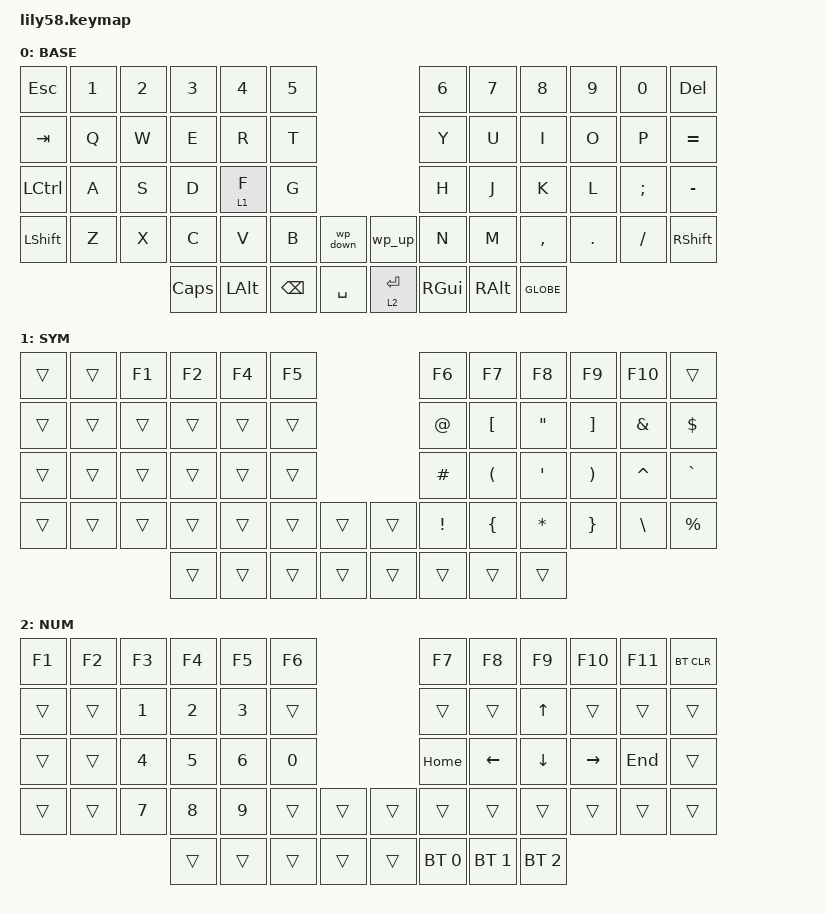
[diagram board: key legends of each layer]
#include <behaviors.dtsi>
#include <dt-bindings/zmk/bt.h>
#include <dt-bindings/zmk/keys.h>

/ {
    macros {
        wp_down: wp_down {
            compatible = "zmk,behavior-macro";
            #binding-cells = <0>;
            bindings = <&kp LC(LG(J))>;
        };

        wp_up: wp_up {
            compatible = "zmk,behavior-macro";
            #binding-cells = <0>;
            bindings = <&kp LC(LG(K))>;
        };
    };
    behaviors {
        td0: tap_dance_0 {
            compatible = "zmk,behavior-tap-dance";
            #binding-cells = <0>;
            tapping-term-ms = <200>;
            bindings = <&kp LSHFT>, <&kp CAPS>;
        };
    };

    combos {
        compatible = "zmk,combos";

        softoff {
            bindings = <&soft_off>;
            key-positions = <14 28 40>;
            timeout-ms = <50>;
        };
    };

    keymap {
        compatible = "zmk,keymap";

        default_layer {
            display-name = "BASE";
            bindings = <
&kp ESC           &kp N1  &kp N2  &kp N3        &kp N4        &kp N5                               &kp N6         &kp N7         &kp N8     &kp N9   &kp N0    &kp DELETE
&kp TAB           &kp Q   &kp W   &kp E         &kp R         &kp T                                &kp Y          &kp U          &kp I      &kp O    &kp P     &kp EQUAL
&kp LEFT_CONTROL  &kp A   &kp S   &kp D         &lt 1 F       &kp G                                &kp H          &kp J          &kp K      &kp L    &kp SEMI  &kp MINUS
&kp LEFT_SHIFT    &kp Z   &kp X   &kp C         &kp V         &kp B          &wp_down    &wp_up    &kp N          &kp M          &kp COMMA  &kp DOT  &kp FSLH  &kp RIGHT_SHIFT
                                  &kp CAPSLOCK  &kp LALT      &kp BSPC       &kp SPACE   &lt 2 RET &kp RGUI       &kp RALT       &kp GLOBE
            >;
        };

        symbols_layer {
            display-name = "SYM";
            bindings = <
&trans  &trans  &kp F1  &kp F2  &kp F4  &kp F5                    &kp F6           &kp F7    &kp F8             &kp F9    &kp F10        &trans
&trans  &trans  &trans  &trans  &trans  &trans                    &kp AT           &kp LBKT  &kp DOUBLE_QUOTES  &kp RBKT  &kp AMPS       &kp DOLLAR
&trans  &trans  &trans  &trans  &trans  &trans                    &kp HASH         &kp LPAR  &kp SQT            &kp RPAR  &kp CARET      &kp GRAVE
&trans  &trans  &trans  &trans  &trans  &trans  &trans    &trans  &kp EXCLAMATION  &kp LBRC  &kp ASTERISK       &kp RBRC  &kp BACKSLASH  &kp PERCENT
                        &trans  &trans  &trans  &trans    &trans  &trans           &trans    &trans
            >;
        };

        numbers_layer {
            display-name = "NUM";
            bindings = <
&kp F1  &kp F2  &kp F3  &kp F4  &kp F5  &kp F6                            &kp F7        &kp F8    &kp F9        &kp F10          &kp F11  &bt BT_CLR
&trans  &trans  &kp N1  &kp N2  &kp N3  &trans                            &trans        &trans    &kp UP_ARROW  &trans           &trans   &trans
&trans  &trans  &kp N4  &kp N5  &kp N6  &kp N0                            &kp HOME      &kp LEFT  &kp DOWN      &kp RIGHT_ARROW  &kp END  &trans
&trans  &trans  &kp N7  &kp N8  &kp N9  &trans  &trans        &trans      &trans        &trans    &trans        &trans           &trans   &trans
                        &trans  &trans  &trans  &trans        &trans      &bt BT_SEL 0  &bt BT_SEL 1  &bt BT_SEL 2
            >;
        };
    };
};
